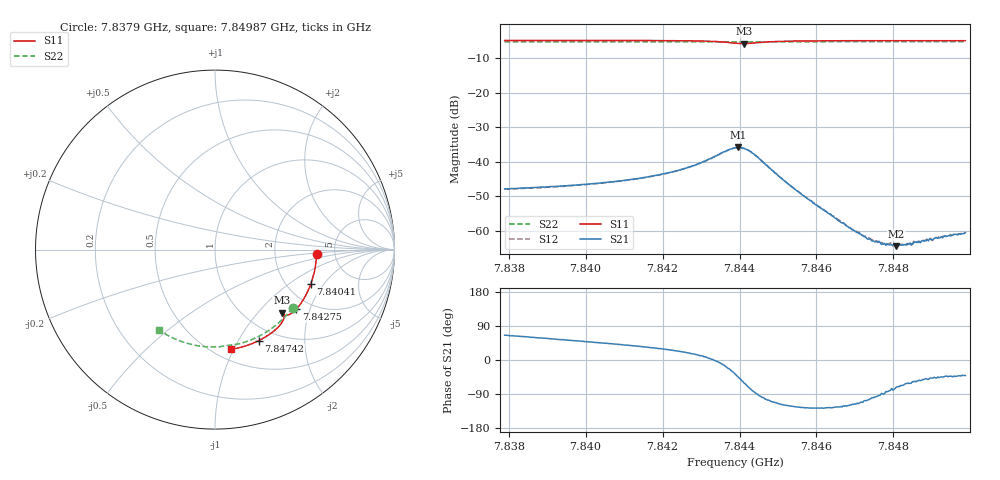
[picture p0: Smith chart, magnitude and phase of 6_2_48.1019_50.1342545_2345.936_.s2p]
#  HZ  S  RI  R  50.00
! Rohde & Schwarz Vector Network Analyzer
! Rohde-Schwarz,ZNB20-2Port,1311601062101988,3.16
! Created: UTC 12/23/2023, 3:35:11 AM
! freq[Hz]  re:S11  im:S11  re:S21  im:S21  re:S12  im:S12  re:S22  im:S22
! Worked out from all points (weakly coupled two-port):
!   401 points, 7.8379 GHz to 7.84987 GHz, reference 50 ohm
!   highest |S21| = -35.81 dB at 7.84397 GHz (marker M1); lowest = -64.4 dB at 7.84807 GHz (marker M2)
!   lowest |S11| = -5.8 dB at 7.84412 GHz (marker M3), VSWR 3.09, Z = 71.3 - j67.8 ohm
!   |S11| at or under -10 dB: nowhere
!   |S22| runs from -5.4 to -5.3 dB; largest |S21 - S12| = 0.0003
!   S11 on the Smith chart (normalised r, x): 7.8379 GHz: 3.59, -0.26; 7.84041 GHz: 2.68, -1.50; 7.84275 GHz: 1.67, -1.62; 7.84742 GHz: 0.83, -1.23; 7.84987 GHz: 0.60, -0.98
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7.837895e9  0.5662 -0.025  0.00169 0.00368  0.0017 0.00362  0.4329 -0.3231
7.839901e9  0.545 -0.157  0.00305 0.00356  0.00298 0.00352  0.3355 -0.4242
7.84041e9  0.5345 -0.1899  0.00352 0.00352  0.00343 0.00348  0.307 -0.4456
7.841907e9  0.4896 -0.283  0.00561 0.00324  0.00556 0.00324  0.2151 -0.4969
7.842745e9  0.4525 -0.3322  0.00819 0.00255  0.00818 0.00258  0.16 -0.5176
7.843434e9  0.4063 -0.3646  0.0126 -0.00103  0.0125 -0.000892  0.1128 -0.5289
7.843883e9  0.3728 -0.3613  0.0128 -0.00948  0.0129 -0.00939  0.0827 -0.5326
7.843973e9  0.3702 -0.3565  0.0114 -0.0115  0.0113 -0.0112  0.077 -0.5332
7.844122e9  0.3717 -0.351  0.00745 -0.0137  0.00775 -0.0136  0.0678 -0.5346
7.844422e9  0.3831 -0.3579  0.000494 -0.0123  0.000534 -0.0122  0.0485 -0.5381
7.84523e9  0.3672 -0.4139  -0.00248 -0.00429  -0.00246 -0.00432  -0.0082 -0.5428
7.845889e9  0.3338 -0.4491  -0.00158 -0.0021  -0.00158 -0.00215  -0.0546 -0.541
7.846906e9  0.2757 -0.4902  -0.000502 -0.00094  -0.000507 -0.000938  -0.1255 -0.5298
7.847415e9  0.2452 -0.5066  -0.000154 -0.000727  -0.000149 -0.000743  -0.1601 -0.5208
7.847715e9  0.227 -0.5153  1.67e-05 -0.000648  -1.42e-06 -0.000677  -0.1799 -0.5142
7.847894e9  0.2159 -0.52  9.77e-05 -0.000624  9.53e-05 -0.000653  -0.1919 -0.5102
7.848074e9  0.2046 -0.5246  0.000193 -0.000572  0.000177 -0.000593  -0.2037 -0.5055
7.848373e9  0.1858 -0.5316  0.00031 -0.000557  0.000309 -0.000584  -0.2232 -0.4975
7.848912e9  0.1513 -0.5424  0.000451 -0.000562  0.000485 -0.000551  -0.2573 -0.4812
7.849062e9  0.1415 -0.5449  0.000549 -0.000558  0.000529 -0.000556  -0.2664 -0.4762
7.849242e9  0.13 -0.5478  0.00059 -0.00058  0.000565 -0.000618  -0.2773 -0.4701
7.84987e9  0.0889 -0.5557  0.000716 -0.000619  0.000716 -0.000632  -0.3148 -0.4462
